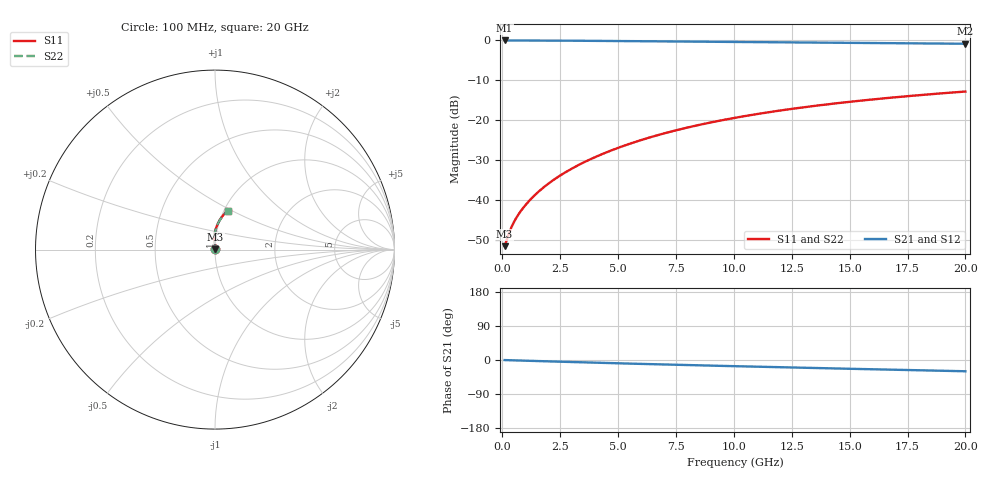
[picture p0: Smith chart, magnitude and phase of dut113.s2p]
! Touchstone file exported from HFSS 2024.1.0
!  File:  C:/UserFiles/LocalFiles/RDL_TSV_Batchsim/temp_RDL_bottom_113_1778695725.aedt
!  Generated:  02:11:14 AM May 14, 2026
!  Design:  RDL_bottom
!  Project:  temp_RDL_bottom_113_1778695725
!  Setup:  Setup1
!  Solution:  Sweep
! Variables:
!  dtsv = 10.80580581um
!  hbump = 3um
!  htsv = 99.24um
!  ldown = 437.79um
!  lrdl = 100um
!  p = 40
!  p1 = 48.14um
!  rhole = 1um
!  t = 450um
!  tdown = 2.54um
!  trdl = 3.915915916um
!  wdown = 29.78um
!  wrdl = 20um
# GHz S MA R 50.000000
! Terminal data exported
! Port[1] = RDL1_T1
! Port[2] = RDL1_T2
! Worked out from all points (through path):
!   200 points, 100 MHz to 20 GHz, reference 50 ohm
!   highest |S21| = -0.02 dB at 100 MHz (marker M1); lowest = -0.8 dB at 20 GHz (marker M2)
!   group delay of S21, straight-line fit = 4.07 ps
!   lowest |S11| = -51.7 dB at 100 MHz (marker M3), VSWR 1.01, Z = 50.2 + j0.0996 ohm
!   |S11| at or under -10 dB: start of sweep to end of sweep
!   |S22| runs from -51.7 to -12.9 dB; largest |S21 - S12| = 3.2e-15
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0.1  0.002611 22.3  0.9976 -0.2  0.9976 -0.2  0.002611 22.3
! Gamma 0 0 0 0
! Port Impedance 50 0 50 0
0.3  0.003864 46.2  0.9972 -0.6  0.9972 -0.6  0.003864 46.2
0.4  0.004552 52.1  0.997 -0.8  0.997 -0.8  0.004553 52.1
0.5  0.005226 56.4  0.9968 -0.9  0.9968 -0.9  0.005226 56.4
0.6  0.005888 59.9  0.9966 -1.1  0.9966 -1.1  0.005889 59.9
0.8  0.00721 65.6  0.9963 -1.5  0.9963 -1.5  0.007211 65.5
1  0.00856 70.0  0.9959 -1.8  0.9959 -1.8  0.008561 70.0
1.2  0.009954 73.6  0.9955 -2.2  0.9955 -2.2  0.009955 73.5
1.7  0.01364 80.1  0.9944 -3.1  0.9944 -3.1  0.01364 80.0
2.2  0.01761 84.4  0.9931 -4.0  0.9931 -4.0  0.01761 84.4
2.8  0.02274 88.0  0.9911 -5.0  0.9911 -5.0  0.02273 87.9
3.5  0.02921 90.6  0.9883 -6.2  0.9883 -6.2  0.0292 90.6
4.2  0.03619 92.3  0.9852 -7.4  0.9852 -7.4  0.03618 92.2
5  0.04474 93.2  0.9813 -8.7  0.9813 -8.7  0.04472 93.1
5.9  0.05496 93.4  0.9766 -10.1  0.9766 -10.1  0.05493 93.3
6.8  0.06569 93.0  0.9718 -11.5  0.9718 -11.5  0.06565 92.9
8.4  0.0856 91.3  0.9631 -13.9  0.9631 -13.9  0.08553 91.3
10.1  0.1073 88.8  0.9542 -16.4  0.9542 -16.4  0.1072 88.7
11.7  0.1279 86.2  0.946 -18.7  0.946 -18.7  0.1277 86.1
13.4  0.1494 83.2  0.9377 -21.0  0.9377 -21.0  0.1493 83.1
16.7  0.1899 77.5  0.9222 -25.4  0.9222 -25.4  0.1897 77.5
20  0.2279 72.1  0.9072 -29.7  0.9072 -29.7  0.2276 72.0
